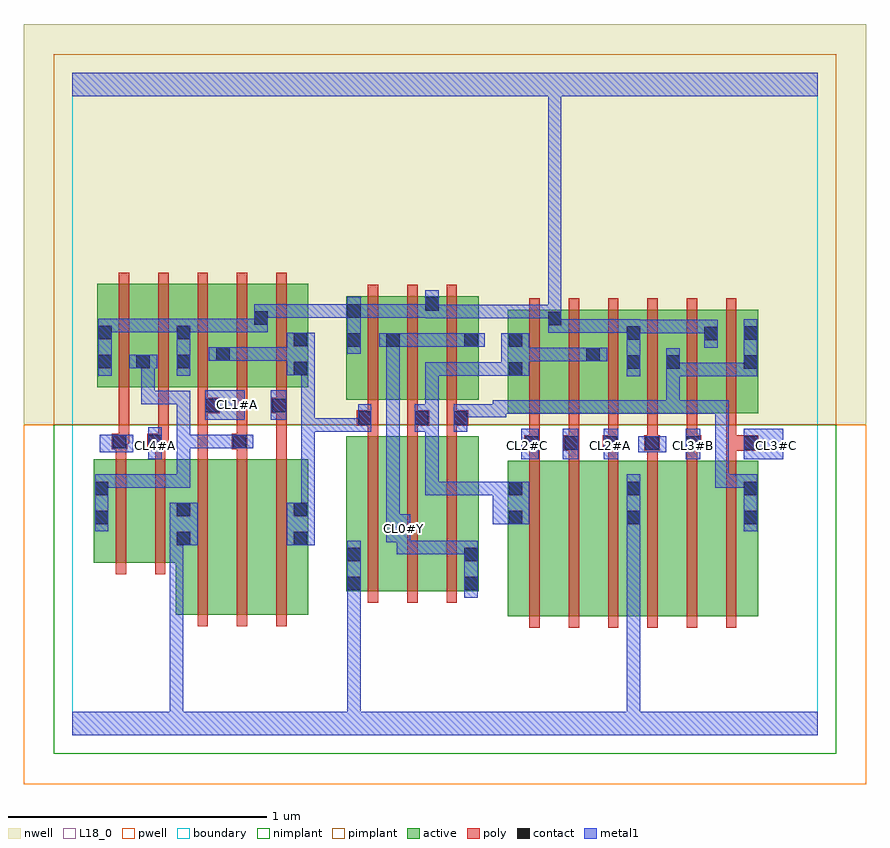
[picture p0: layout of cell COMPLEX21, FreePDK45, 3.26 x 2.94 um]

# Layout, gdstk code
import gdstk
lib = gdstk.Library(unit=1e-6, precision=1e-09)
def R(c, l, rs):  # rectangles x0, y0, x1, y1
    for r in rs: c.add(gdstk.rectangle(r[:2], r[2:], *l))
def A(c, l, x, y, w, h, nx, ny, dx, dy):  # array of equal rectangles
    R(c, l, [(x+i*dx, y+j*dy, x+i*dx+w, y+j*dy+h) for i in range(nx) for j in range(ny)])
active = (1, 0)
pwell = (2, 0)
nwell = (3, 0)
nimplant = (4, 0)
pimplant = (5, 0)
poly = (9, 0)
contact = (10, 0)
metal1 = (11, 0)
L18_0 = (18, 0)
boundary = (235, 0)

complex21 = lib.new_cell('COMPLEX21')
R(complex21, active, [(1.682,0.46,1.862,1.06), (1.862,0.46,2.014,1.06), (2.014,0.46,2.198,1.06), (2.138,0.46,2.318,1.06), (2.318,0.46,2.47,1.06), (2.47,0.46,2.65,1.06), (0.4,0.466,0.58,1.066), (0.4,0.466,0.46,0.928), (0.58,0.466,0.732,1.066), (0.732,0.466,0.912,1.066), (0.852,0.556,0.912,1.066), (1.058,0.556,1.238,1.156), (1.058,0.556,1.118,1.156), (1.238,0.556,1.39,1.156), (1.39,0.556,1.57,1.156), (1.51,0.556,1.57,1.156), (1.682,0.556,1.742,1.06), (2.138,0.556,2.198,0.984), (2.59,0.556,2.65,1.06), (0.084,0.666,0.264,1.066), (0.264,0.666,0.46,1.066), (0.084,0.756,0.144,1.066), (1.682,1.244,1.742,1.644), (1.682,1.244,1.894,1.644), (1.834,1.244,2.042,1.644), (1.982,1.244,2.198,1.644), (2.138,1.244,2.198,1.644), (2.138,1.244,2.35,1.644), (2.29,1.244,2.498,1.644), (2.438,1.244,2.498,1.644), (2.438,1.244,2.65,1.644), (2.59,1.244,2.65,1.644), (1.058,1.296,1.118,1.696), (1.058,1.296,1.27,1.696), (1.21,1.296,1.42,1.696), (1.21,1.296,1.27,1.644), (1.36,1.296,1.42,1.696), (1.36,1.296,1.57,1.696), (1.51,1.296,1.57,1.696), (0.096,1.344,0.304,1.744), (0.096,1.344,0.156,1.644), (0.244,1.344,0.46,1.744), (0.4,1.344,0.612,1.744), (0.552,1.344,0.76,1.744), (0.7,1.344,0.912,1.744), (0.852,1.344,0.912,1.644), (2.29,1.412,2.35,1.644), (0.244,1.414,0.304,1.644), (0.4,1.414,0.46,1.644), (1.982,1.442,2.042,1.644), (0.552,1.444,0.612,1.644), (1.834,1.444,1.894,1.644), (0.7,1.582,0.76,1.644)])
R(complex21, pwell, [(-0.188,-0.188,3.068,1.2)])
R(complex21, nwell, [(-0.188,1.2,3.068,2.748)])
R(complex21, nimplant, [(-0.072,-0.072,2.952,1.2)])
R(complex21, pimplant, [(-0.072,1.2,2.952,2.632)])
A(complex21, poly, 1.766, 0.416, 0.04, 0.688, 6, 1, 0.152, 0)
A(complex21, poly, 0.484, 0.422, 0.04, 0.688, 3, 1, 0.152, 0)
A(complex21, poly, 1.142, 0.512, 0.04, 0.688, 3, 1, 0.152, 0)
A(complex21, poly, 1.766, 1.064, 0.04, 0.076, 6, 1, 0.152, 0)
A(complex21, poly, 1.746, 1.1, 0.06, 0.06, 3, 1, 0.152, 0)
A(complex21, poly, 1.766, 1.12, 0.04, 0.12, 6, 1, 0.152, 0)
A(complex21, poly, 1.142, 1.16, 0.04, 0.076, 3, 2, 0.152, 0.056)
A(complex21, poly, 1.766, 1.2, 0.04, 0.488, 6, 1, 0.152, 0)
A(complex21, poly, 1.142, 1.252, 0.04, 0.488, 3, 1, 0.152, 0)
A(complex21, poly, 0.18, 1.3, 0.04, 0.488, 5, 1, 0.152, 0)
R(complex21, poly, [(0.168,0.622,0.208,1.11), (0.32,0.622,0.36,1.11), (0.168,1.07,0.208,1.146), (0.32,1.07,0.36,1.146), (0.484,1.07,0.524,1.284), (0.636,1.07,0.676,1.146), (0.788,1.07,0.828,1.284), (2.21,1.1,2.27,1.16), (2.37,1.1,2.43,1.16), (2.526,1.1,2.566,1.14), (2.526,1.1,2.566,1.14), (2.526,1.1,2.65,1.16), (0.152,1.106,0.212,1.166), (0.29,1.106,0.36,1.166), (0.616,1.106,0.676,1.166), (1.766,1.12,1.806,1.16), (1.766,1.12,1.806,1.16), (1.918,1.12,1.958,1.16), (1.918,1.12,1.958,1.16), (2.07,1.12,2.11,1.16), (2.07,1.12,2.11,1.16), (2.222,1.12,2.262,1.16), (2.222,1.12,2.262,1.16), (2.374,1.12,2.414,1.16), (2.374,1.12,2.414,1.16), (0.172,1.126,0.212,1.166), (0.172,1.126,0.22,1.166), (0.18,1.126,0.22,1.34), (0.32,1.126,0.36,1.166), (0.32,1.126,0.372,1.166), (0.332,1.126,0.372,1.34), (0.636,1.126,0.676,1.166), (0.636,1.126,0.676,1.166), (0.636,1.126,0.676,1.34), (1.1,1.196,1.182,1.256), (1.142,1.196,1.182,1.236), (1.142,1.196,1.182,1.236), (1.294,1.196,1.334,1.236), (1.294,1.196,1.334,1.236), (1.294,1.196,1.38,1.256), (1.446,1.196,1.486,1.236), (1.446,1.196,1.486,1.236), (1.446,1.196,1.53,1.256), (0.484,1.244,0.524,1.284), (0.484,1.244,0.524,1.284), (0.484,1.244,0.57,1.304), (0.768,1.244,0.828,1.304), (0.484,1.264,0.524,1.34), (0.788,1.264,0.828,1.304), (0.788,1.264,0.828,1.304), (0.788,1.264,0.828,1.34)])
A(complex21, contact, 1.75, 1.104, 0.052, 0.052, 3, 1, 0.152, 0)
R(complex21, contact, [(1.062,0.56,1.114,0.612), (1.514,0.56,1.566,0.612), (1.062,0.672,1.114,0.724), (1.514,0.672,1.566,0.724), (0.404,0.734,0.456,0.786), (0.856,0.734,0.908,0.786), (0.088,0.816,0.14,0.868), (1.686,0.816,1.738,0.868), (2.142,0.816,2.194,0.868), (2.594,0.816,2.646,0.868), (0.404,0.846,0.456,0.898), (0.856,0.846,0.908,0.898), (0.088,0.928,0.14,0.98), (1.686,0.928,1.738,0.98), (2.142,0.928,2.194,0.98), (2.594,0.928,2.646,0.98), (2.214,1.104,2.266,1.156), (2.374,1.104,2.426,1.156), (2.594,1.104,2.646,1.156), (0.156,1.11,0.208,1.162), (0.294,1.11,0.346,1.162), (0.62,1.11,0.672,1.162), (1.104,1.2,1.156,1.252), (1.324,1.2,1.376,1.252), (1.474,1.2,1.526,1.252), (0.514,1.248,0.566,1.3), (0.772,1.248,0.824,1.3), (1.686,1.39,1.738,1.442), (0.856,1.392,0.908,1.444), (2.142,1.416,2.194,1.468), (2.294,1.416,2.346,1.468), (2.594,1.416,2.646,1.468), (0.1,1.418,0.152,1.47), (0.248,1.418,0.3,1.47), (0.404,1.418,0.456,1.47), (1.986,1.446,2.038,1.498), (0.556,1.448,0.608,1.5), (1.062,1.502,1.114,1.554), (1.214,1.502,1.266,1.554), (1.514,1.502,1.566,1.554), (1.686,1.502,1.738,1.554), (0.856,1.504,0.908,1.556), (2.442,1.526,2.494,1.578), (2.142,1.528,2.194,1.58), (2.594,1.528,2.646,1.58), (0.1,1.53,0.152,1.582), (0.404,1.53,0.456,1.582), (1.838,1.584,1.89,1.636), (0.704,1.586,0.756,1.638), (1.062,1.614,1.114,1.666), (1.364,1.64,1.416,1.692)])
A(complex21, metal1, 1.242, 1.502, 0.052, 0.052, 3, 1, 0.122, 0)
R(complex21, metal1, [(0,0,2.88,0.092), (0.376,0.04,0.428,0.092), (0.376,0.04,0.428,0.092), (0.376,0.04,0.428,0.092), (0.376,0.04,0.428,0.092), (0.376,0.04,0.428,0.786), (1.062,0.04,1.114,0.092), (1.062,0.04,1.114,0.092), (1.062,0.04,1.114,0.092), (1.062,0.04,1.114,0.092), (1.062,0.04,1.114,0.092), (1.062,0.04,1.114,0.092), (1.062,0.04,1.114,0.584), (2.142,0.04,2.194,0.092), (2.142,0.04,2.194,0.092), (2.142,0.04,2.194,0.092), (2.142,0.04,2.194,0.092), (2.142,0.04,2.194,0.84), (1.062,0.532,1.114,0.584), (1.062,0.532,1.114,0.584), (1.062,0.532,1.114,0.752), (1.514,0.532,1.566,0.752), (1.254,0.7,1.306,0.752), (1.254,0.7,1.306,0.752), (1.254,0.7,1.306,0.752), (1.254,0.7,1.416,0.752), (1.254,0.7,1.306,0.798), (1.364,0.7,1.416,0.752), (1.364,0.7,1.566,0.752), (1.514,0.7,1.566,0.752), (1.514,0.7,1.566,0.752), (0.376,0.734,0.428,0.786), (0.376,0.734,0.428,0.786), (0.376,0.734,0.428,0.786), (0.376,0.734,0.428,0.786), (0.376,0.734,0.484,0.898), (0.828,0.734,0.936,0.898), (1.214,0.746,1.306,0.854), (0.088,0.788,0.14,1.008), (2.142,0.788,2.194,0.84), (2.142,0.788,2.194,0.84), (2.142,0.788,2.194,0.84), (2.142,0.788,2.194,0.84), (2.142,0.788,2.194,1.008), (2.594,0.788,2.646,1.008), (1.214,0.802,1.266,1.554), (1.624,0.816,1.766,0.98), (0.884,0.846,0.936,1.224), (1.364,0.928,1.416,0.98), (1.364,0.928,1.526,0.98), (1.364,0.928,1.416,1.224), (1.474,0.928,1.526,0.98), (1.474,0.928,1.526,0.98), (1.474,0.928,1.526,0.98), (1.474,0.928,1.676,0.98), (1.624,0.928,1.676,0.98), (1.624,0.928,1.676,0.98), (0.088,0.956,0.14,1.008), (0.088,0.956,0.14,1.008), (0.088,0.956,0.262,1.008), (0.21,0.956,0.262,1.008), (0.21,0.956,0.262,1.008), (0.21,0.956,0.262,1.008), (0.21,0.956,0.456,1.008), (0.404,0.956,0.456,1.008), (0.404,0.956,0.456,1.162), (2.484,0.956,2.536,1.008), (2.484,0.956,2.646,1.008), (2.484,0.956,2.536,1.294), (2.594,0.956,2.646,1.008), (2.594,0.956,2.646,1.008), (2.594,0.956,2.646,1.008), (2.594,0.956,2.646,1.008), (0.294,1.066,0.346,1.19), (1.734,1.066,1.802,1.184), (1.894,1.066,1.954,1.184), (2.054,1.066,2.11,1.184), (2.37,1.066,2.426,1.184), (2.594,1.066,2.746,1.184), (0.106,1.094,0.236,1.162), (2.186,1.094,2.294,1.156), (0.404,1.11,0.456,1.162), (0.404,1.11,0.456,1.162), (0.404,1.11,0.456,1.162), (0.404,1.11,0.644,1.162), (0.404,1.11,0.456,1.332), (0.592,1.11,0.644,1.162), (0.592,1.11,0.644,1.162), (0.592,1.11,0.7,1.162), (0.884,1.172,0.936,1.224), (0.884,1.172,0.936,1.224), (0.884,1.172,0.936,1.224), (0.884,1.172,1.128,1.224), (0.884,1.172,0.936,1.444), (1.076,1.172,1.128,1.224), (1.076,1.172,1.156,1.224), (1.104,1.172,1.156,1.28), (1.324,1.172,1.376,1.28), (1.324,1.172,1.416,1.224), (1.364,1.172,1.416,1.224), (1.364,1.172,1.416,1.442), (1.474,1.172,1.526,1.28), (0.514,1.22,0.666,1.334), (0.766,1.22,0.826,1.334), (1.474,1.228,1.526,1.28), (1.474,1.228,1.526,1.28), (1.474,1.228,1.676,1.28), (1.624,1.228,1.676,1.294), (1.624,1.242,1.676,1.294), (1.624,1.242,1.676,1.294), (1.624,1.242,1.9,1.294), (1.848,1.242,1.9,1.294), (1.848,1.242,1.9,1.294), (1.848,1.242,1.9,1.294), (1.848,1.242,2.084,1.294), (2.032,1.242,2.084,1.294), (2.032,1.242,2.084,1.294), (2.032,1.242,2.084,1.294), (2.032,1.242,2.194,1.294), (2.142,1.242,2.194,1.294), (2.142,1.242,2.194,1.294), (2.142,1.242,2.194,1.294), (2.142,1.242,2.346,1.294), (2.294,1.242,2.346,1.294), (2.294,1.242,2.346,1.294), (2.294,1.242,2.346,1.294), (2.294,1.242,2.536,1.294), (2.294,1.242,2.346,1.44), (2.484,1.242,2.536,1.294), (0.266,1.28,0.318,1.332), (0.266,1.28,0.318,1.332), (0.266,1.28,0.318,1.332), (0.266,1.28,0.456,1.332), (0.266,1.28,0.318,1.47), (0.404,1.28,0.456,1.332), (2.142,1.388,2.194,1.608), (2.294,1.388,2.346,1.44), (2.294,1.388,2.346,1.44), (2.294,1.388,2.536,1.44), (2.294,1.388,2.346,1.496), (2.484,1.388,2.536,1.44), (2.484,1.388,2.646,1.44), (2.594,1.388,2.646,1.44), (2.594,1.388,2.646,1.44), (2.594,1.388,2.646,1.608), (0.1,1.39,0.152,1.61), (0.404,1.39,0.456,1.61), (1.364,1.39,1.416,1.442), (1.364,1.39,1.566,1.442), (1.514,1.39,1.566,1.442), (1.514,1.39,1.566,1.442), (1.514,1.39,1.566,1.442), (1.514,1.39,1.71,1.442), (1.658,1.39,1.766,1.554), (0.828,1.392,0.936,1.556), (0.22,1.418,0.328,1.47), (1.714,1.446,1.766,1.498), (1.714,1.446,1.766,1.498), (1.714,1.446,1.9,1.498), (1.848,1.446,1.9,1.498), (1.848,1.446,1.9,1.498), (1.848,1.446,1.9,1.498), (1.848,1.446,2.01,1.498), (1.958,1.446,2.066,1.498), (0.528,1.448,0.636,1.5), (0.584,1.448,0.636,1.5), (0.584,1.448,0.636,1.5), (0.584,1.448,0.77,1.5), (0.718,1.448,0.77,1.5), (0.718,1.448,0.88,1.5), (0.828,1.448,0.88,1.5), (0.828,1.448,0.88,1.5), (1.062,1.474,1.114,1.694), (2.442,1.498,2.494,1.606), (1.186,1.502,1.294,1.554), (1.214,1.502,1.266,1.554), (1.214,1.502,1.266,1.554), (1.242,1.502,1.294,1.554), (1.242,1.502,1.294,1.554), (1.242,1.502,1.294,1.554), (1.242,1.502,1.416,1.554), (1.364,1.502,1.538,1.554), (1.486,1.502,1.538,1.554), (1.486,1.502,1.594,1.554), (2.142,1.554,2.194,1.606), (2.142,1.554,2.194,1.606), (2.142,1.554,2.304,1.606), (2.252,1.554,2.304,1.606), (2.252,1.554,2.304,1.606), (2.252,1.554,2.304,1.606), (2.252,1.554,2.494,1.606), (1.838,1.556,1.89,1.608), (1.838,1.556,1.89,1.608), (1.838,1.556,1.89,1.664), (1.838,1.556,2.084,1.608), (2.032,1.556,2.084,1.608), (2.032,1.556,2.084,1.608), (2.032,1.556,2.084,1.608), (2.032,1.556,2.194,1.608), (0.1,1.558,0.152,1.61), (0.1,1.558,0.152,1.61), (0.1,1.558,0.318,1.61), (0.266,1.558,0.318,1.61), (0.266,1.558,0.318,1.61), (0.266,1.558,0.318,1.61), (0.266,1.558,0.456,1.61), (0.404,1.558,0.456,1.61), (0.404,1.558,0.456,1.61), (0.404,1.558,0.646,1.61), (0.594,1.558,0.646,1.61), (0.594,1.558,0.646,1.61), (0.594,1.558,0.646,1.61), (0.594,1.558,0.756,1.61), (0.704,1.558,0.756,1.666), (1.364,1.612,1.416,1.72), (1.364,1.612,1.566,1.664), (1.514,1.612,1.566,1.664), (1.514,1.612,1.566,1.664), (1.514,1.612,1.566,1.664), (1.514,1.612,1.676,1.664), (1.624,1.612,1.676,1.664), (1.624,1.612,1.676,1.664), (1.624,1.612,1.676,1.664), (1.624,1.612,1.89,1.664), (1.838,1.612,1.89,1.664), (1.838,1.612,1.89,1.664), (1.838,1.612,1.89,1.664), (1.838,1.612,1.89,1.664), (1.838,1.612,1.89,1.664), (1.838,1.612,1.89,1.664), (1.838,1.612,1.89,1.664), (1.838,1.612,1.89,1.664), (1.838,1.612,1.89,1.664), (1.838,1.612,1.89,1.664), (1.838,1.612,1.89,1.664), (1.838,1.612,1.89,1.664), (1.838,1.612,1.89,1.664), (1.838,1.612,1.89,1.664), (1.838,1.612,1.89,2.52), (0.704,1.614,0.756,1.666), (0.704,1.614,0.756,1.666), (0.704,1.614,0.88,1.666), (0.828,1.614,0.88,1.666), (0.828,1.614,1.114,1.666), (1.062,1.614,1.114,1.666), (1.062,1.614,1.114,1.666), (1.062,1.614,1.306,1.666), (1.254,1.614,1.306,1.666), (1.254,1.614,1.306,1.666), (1.254,1.614,1.306,1.666), (1.254,1.614,1.416,1.666), (0,2.468,2.88,2.56), (1.838,2.468,1.89,2.52), (1.838,2.468,1.89,2.52)])
A(complex21, L18_0, 1.734, 1.094, 0.052, 0.052, 5, 1, 0.16, 0)
A(complex21, L18_0, 1.242, 1.502, 0.052, 0.052, 3, 1, 0.122, 0)
R(complex21, L18_0, [(0,0,2.88,0.092), (0.376,0.04,0.428,0.092), (0.376,0.04,0.428,0.092), (0.376,0.04,0.428,0.092), (0.376,0.04,0.428,0.092), (0.376,0.04,0.428,0.786), (1.062,0.04,1.114,0.092), (1.062,0.04,1.114,0.092), (1.062,0.04,1.114,0.092), (1.062,0.04,1.114,0.092), (1.062,0.04,1.114,0.092), (1.062,0.04,1.114,0.092), (1.062,0.04,1.114,0.584), (2.142,0.04,2.194,0.092), (2.142,0.04,2.194,0.092), (2.142,0.04,2.194,0.092), (2.142,0.04,2.194,0.092), (2.142,0.04,2.194,0.84), (1.062,0.532,1.114,0.752), (1.062,0.532,1.114,0.584), (1.062,0.532,1.114,0.584), (1.514,0.532,1.566,0.752), (1.254,0.7,1.306,0.752), (1.254,0.7,1.306,0.752), (1.254,0.7,1.306,0.752), (1.254,0.7,1.416,0.752), (1.254,0.7,1.306,0.798), (1.364,0.7,1.416,0.752), (1.364,0.7,1.566,0.752), (1.514,0.7,1.566,0.752), (1.514,0.7,1.566,0.752), (0.376,0.734,0.428,0.786), (0.376,0.734,0.428,0.786), (0.376,0.734,0.428,0.786), (0.376,0.734,0.428,0.786), (0.376,0.734,0.484,0.898), (1.214,0.746,1.306,0.854), (1.254,0.774,1.306,0.826), (2.142,0.788,2.194,1.008), (2.142,0.788,2.194,0.84), (2.142,0.788,2.194,0.84), (2.142,0.788,2.194,0.84), (2.142,0.788,2.194,0.84), (1.214,0.802,1.266,1.554), (0.294,1.066,0.346,1.19), (1.734,1.066,1.802,1.184), (1.894,1.066,1.954,1.184), (2.054,1.066,2.11,1.184), (2.37,1.066,2.426,1.184), (2.594,1.066,2.746,1.184), (0.106,1.094,0.236,1.162), (0.134,1.094,0.186,1.146), (0.294,1.094,0.346,1.146), (2.186,1.094,2.294,1.156), (2.694,1.094,2.746,1.146), (0.514,1.22,0.666,1.334), (0.766,1.22,0.826,1.334), (0.614,1.254,0.666,1.306), (0.774,1.254,0.826,1.306), (2.142,1.388,2.194,1.608), (0.1,1.39,0.152,1.61), (0.404,1.39,0.456,1.61), (1.062,1.474,1.114,1.694), (2.442,1.498,2.494,1.606), (1.186,1.502,1.294,1.554), (1.214,1.502,1.266,1.554), (1.214,1.502,1.266,1.554), (1.242,1.502,1.294,1.554), (1.242,1.502,1.294,1.554), (1.242,1.502,1.294,1.554), (1.242,1.502,1.416,1.554), (1.364,1.502,1.538,1.554), (1.486,1.502,1.538,1.554), (1.486,1.502,1.594,1.554), (2.142,1.554,2.194,1.606), (2.142,1.554,2.194,1.606), (2.142,1.554,2.304,1.606), (2.252,1.554,2.304,1.606), (2.252,1.554,2.304,1.606), (2.252,1.554,2.304,1.606), (2.252,1.554,2.494,1.606), (1.838,1.556,1.89,1.608), (1.838,1.556,1.89,1.608), (1.838,1.556,1.89,1.664), (1.838,1.556,2.084,1.608), (2.032,1.556,2.084,1.608), (2.032,1.556,2.084,1.608), (2.032,1.556,2.084,1.608), (2.032,1.556,2.194,1.608), (0.1,1.558,0.152,1.61), (0.1,1.558,0.152,1.61), (0.1,1.558,0.318,1.61), (0.266,1.558,0.318,1.61), (0.266,1.558,0.318,1.61), (0.266,1.558,0.318,1.61), (0.266,1.558,0.456,1.61), (0.404,1.558,0.456,1.61), (0.404,1.558,0.456,1.61), (0.404,1.558,0.646,1.61), (0.594,1.558,0.646,1.61), (0.594,1.558,0.646,1.61), (0.594,1.558,0.646,1.61), (0.594,1.558,0.756,1.61), (0.704,1.558,0.756,1.666), (1.364,1.612,1.416,1.72), (1.364,1.612,1.566,1.664), (1.514,1.612,1.566,1.664), (1.514,1.612,1.566,1.664), (1.514,1.612,1.566,1.664), (1.514,1.612,1.676,1.664), (1.624,1.612,1.676,1.664), (1.624,1.612,1.676,1.664), (1.624,1.612,1.676,1.664), (1.624,1.612,1.89,1.664), (1.838,1.612,1.89,1.664), (1.838,1.612,1.89,1.664), (1.838,1.612,1.89,1.664), (1.838,1.612,1.89,1.664), (1.838,1.612,1.89,1.664), (1.838,1.612,1.89,1.664), (1.838,1.612,1.89,1.664), (1.838,1.612,1.89,1.664), (1.838,1.612,1.89,1.664), (1.838,1.612,1.89,1.664), (1.838,1.612,1.89,1.664), (1.838,1.612,1.89,1.664), (1.838,1.612,1.89,1.664), (1.838,1.612,1.89,1.664), (1.838,1.612,1.89,2.52), (0.704,1.614,0.756,1.666), (0.704,1.614,0.756,1.666), (0.704,1.614,0.88,1.666), (0.828,1.614,0.88,1.666), (0.828,1.614,1.114,1.666), (1.062,1.614,1.114,1.666), (1.062,1.614,1.114,1.666), (1.062,1.614,1.306,1.666), (1.254,1.614,1.306,1.666), (1.254,1.614,1.306,1.666), (1.254,1.614,1.306,1.666), (1.254,1.614,1.416,1.666), (0,2.468,2.88,2.56), (1.838,2.468,1.89,2.52), (1.838,2.468,1.89,2.52)])
R(complex21, boundary, [(0,0,2.88,2.56)])
complex21.add(gdstk.Label('CL0#Y', (1.28,0.8), layer=11, texttype=0))
complex21.add(gdstk.Label('CL1#A', (0.64,1.28), layer=11, texttype=0))
complex21.add(gdstk.Label('CL1#C', (0.8,1.28), layer=11, texttype=0))
complex21.add(gdstk.Label('CL2#A', (2.08,1.12), layer=11, texttype=0))
complex21.add(gdstk.Label('CL2#B', (1.92,1.12), layer=11, texttype=0))
complex21.add(gdstk.Label('CL2#C', (1.76,1.12), layer=11, texttype=0))
complex21.add(gdstk.Label('CL3#A', (2.24,1.12), layer=11, texttype=0))
complex21.add(gdstk.Label('CL3#B', (2.4,1.12), layer=11, texttype=0))
complex21.add(gdstk.Label('CL3#C', (2.72,1.12), layer=11, texttype=0))
complex21.add(gdstk.Label('CL4#A', (0.32,1.12), layer=11, texttype=0))
complex21.add(gdstk.Label('CL4#B', (0.16,1.12), layer=11, texttype=0))

lib.write_gds('COMPLEX21.gds')
